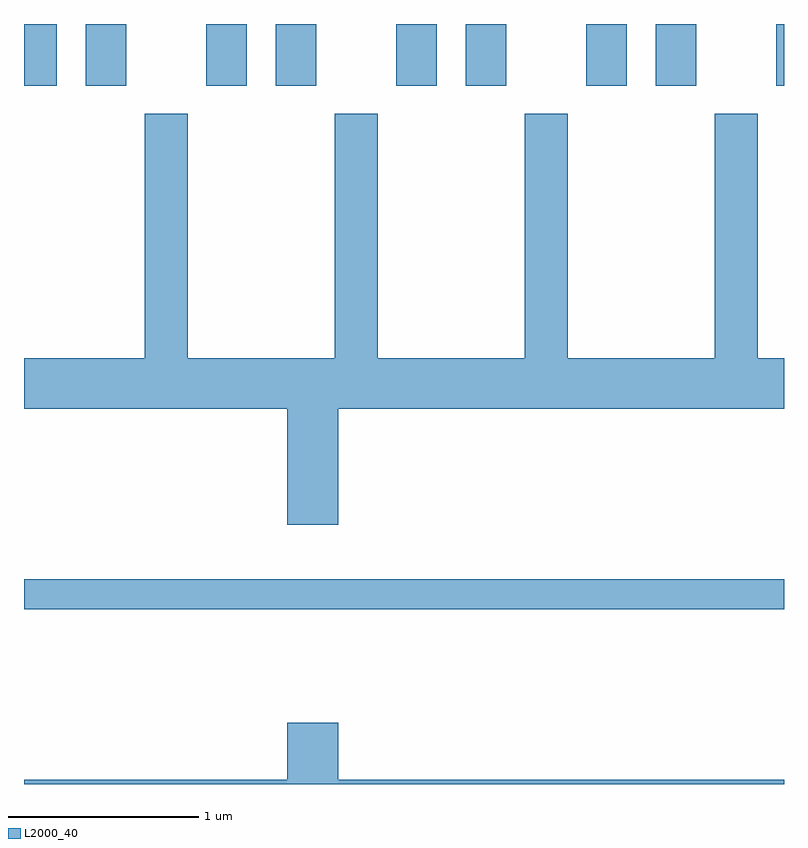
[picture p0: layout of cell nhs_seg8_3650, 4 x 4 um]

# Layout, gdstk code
import gdstk
lib = gdstk.Library(unit=1e-6, precision=1e-09)
def R(c, l, rs):  # rectangles x0, y0, x1, y1
    for r in rs: c.add(gdstk.rectangle(r[:2], r[2:], *l))
def P(c, l, *ps):  # polygons
    for p in ps: c.add(gdstk.Polygon(p, *l))
L2000_40 = (2000, 40)

nhs_seg8_3650 = lib.new_cell('nhs_seg8_3650')
R(nhs_seg8_3650, L2000_40, [(293.611,1935.261,297.611,1935.419), (293.611,1938.016,293.784,1938.342), (293.936,1938.016,294.149,1938.342), (294.571,1938.016,294.784,1938.342), (294.936,1938.016,295.149,1938.342), (295.571,1938.016,295.784,1938.342), (295.936,1938.016,296.149,1938.342), (296.571,1938.016,296.784,1938.342), (296.936,1938.016,297.149,1938.342), (297.571,1938.016,297.611,1938.342)])
P(nhs_seg8_3650, L2000_40, [(295.264,1936.316),(297.611,1936.316),(297.611,1936.584),(297.474,1936.584),(297.474,1937.869),(297.246,1937.869),(297.246,1936.584),(296.474,1936.584),(296.474,1937.869),(296.246,1937.869),(296.246,1936.584),(295.474,1936.584),(295.474,1937.869),(295.246,1937.869),(295.246,1936.584),(294.474,1936.584),(294.474,1937.869),(294.246,1937.869),(294.246,1936.584),(293.611,1936.584),(293.611,1936.316),(294.996,1936.316),(294.996,1935.706),(295.264,1935.706)],
  [(295.264,1934.664),(294.996,1934.664),(294.996,1934.364),(293.611,1934.364),(293.611,1934.342),(297.611,1934.342),(297.611,1934.364),(295.264,1934.364)])

lib.write_gds('nhs_seg8_3650.gds')
